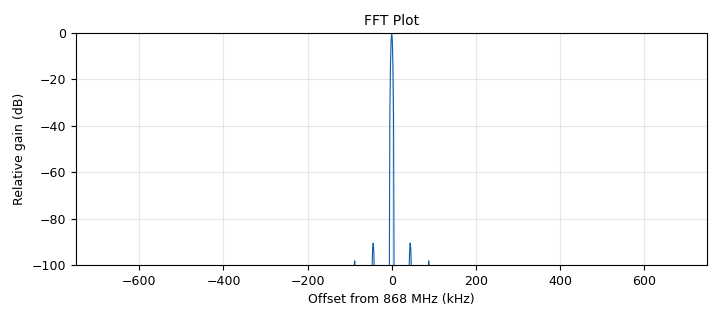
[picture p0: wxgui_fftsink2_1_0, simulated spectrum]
<?xml version='1.0' encoding='utf-8'?>
<?grc format='1' created='3.7.11'?>
<flow_graph>
<block>
<key>options</key>
<param><key>id</key><value>top_block</value></param>
<param><key>generate_options</key><value>wx_gui</value></param>
</block>
<block>
<key>variable_slider</key>
<param><key>id</key><value>gain</value></param>
<param><key>converver</key><value>float_converter</value></param>
<param><key>value</key><value>80</value></param>
<param><key>label</key><value></value></param>
<param><key>max</key><value>100</value></param>
<param><key>min</key><value>0</value></param>
<param><key>num_steps</key><value>100</value></param>
<param><key>style</key><value>wx.SL_HORIZONTAL</value></param>
</block>
<block>
<key>variable</key>
<param><key>id</key><value>porteuse</value></param>
<param><key>value</key><value>868e6</value></param>
</block>
<block>
<key>variable</key>
<param><key>id</key><value>samp_rate</value></param>
<param><key>value</key><value>44100</value></param>
</block>
<block>
<key>variable</key>
<param><key>id</key><value>signal</value></param>
<param><key>value</key><value>1000</value></param>
</block>
<block>
<key>analog_sig_source_x</key>
<param><key>id</key><value>analog_sig_source_x_0</value></param>
<param><key>amp</key><value>1</value></param>
<param><key>freq</key><value>0</value></param>
<param><key>offset</key><value>0</value></param>
<param><key>type</key><value>float</value></param>
<param><key>samp_rate</key><value>samp_rate</value></param>
<param><key>waveform</key><value>analog.GR_COS_WAVE</value></param>
</block>
<block>
<key>analog_sig_source_x</key>
<param><key>id</key><value>analog_sig_source_x_1</value></param>
<param><key>amp</key><value>1</value></param>
<param><key>freq</key><value>0</value></param>
<param><key>offset</key><value>0</value></param>
<param><key>type</key><value>float</value></param>
<param><key>samp_rate</key><value>samp_rate</value></param>
<param><key>waveform</key><value>analog.GR_CONST_WAVE</value></param>
</block>
<block>
<key>audio_sink</key>
<param><key>id</key><value>audio_sink_0</value></param>
<param><key>_enabled</key><value>0</value></param>
<param><key>samp_rate</key><value>samp_rate</value></param>
</block>
<block>
<key>blocks_add_xx</key>
<param><key>id</key><value>blocks_add_xx_0</value></param>
<param><key>_enabled</key><value>0</value></param>
<param><key>type</key><value>float</value></param>
</block>
<block>
<key>blocks_float_to_complex</key>
<param><key>id</key><value>blocks_float_to_complex_0</value></param>
</block>
<block>
<key>blocks_multiply_const_vxx</key>
<param><key>id</key><value>blocks_multiply_const_vxx_0</value></param>
<param><key>const</key><value>1</value></param>
<param><key>_enabled</key><value>2</value></param>
<param><key>type</key><value>float</value></param>
</block>
<block>
<key>blocks_wavfile_source</key>
<param><key>id</key><value>blocks_wavfile_source_0</value></param>
<param><key>_enabled</key><value>0</value></param>
<param><key>file</key><value>/home/timani/Bureau/CODE/4A/BE Transmission/Media/eden-rock-roll-official-video (online-audio-converter.com).wav</value></param>
<param><key>nchan</key><value>2</value></param>
<param><key>repeat</key><value>True</value></param>
</block>
<block>
<key>low_pass_filter</key>
<param><key>id</key><value>low_pass_filter_0</value></param>
<param><key>cutoff_freq</key><value>20000</value></param>
<param><key>decim</key><value>1</value></param>
<param><key>_enabled</key><value>0</value></param>
<param><key>type</key><value>fir_filter_fff</value></param>
<param><key>gain</key><value>1</value></param>
<param><key>samp_rate</key><value>samp_rate</value></param>
<param><key>width</key><value>2000</value></param>
<param><key>win</key><value>firdes.WIN_HAMMING</value></param>
</block>
<block>
<key>rational_resampler_xxx</key>
<param><key>id</key><value>rational_resampler_xxx_0</value></param>
<param><key>decim</key><value>44100</value></param>
<param><key>_enabled</key><value>2</value></param>
<param><key>interp</key><value>15000000</value></param>
<param><key>taps</key><value></value></param>
<param><key>type</key><value>fff</value></param>
</block>
<block>
<key>rational_resampler_xxx</key>
<param><key>id</key><value>rational_resampler_xxx_0_0</value></param>
<param><key>decim</key><value>44100</value></param>
<param><key>interp</key><value>1500000</value></param>
<param><key>taps</key><value></value></param>
<param><key>type</key><value>ccc</value></param>
</block>
<block>
<key>uhd_usrp_sink</key>
<param><key>id</key><value>uhd_usrp_sink_0</value></param>
<param><key>ant0</key><value></value></param>
<param><key>center_freq0</key><value>porteuse</value></param>
<param><key>norm_gain0</key><value>False</value></param>
<param><key>gain0</key><value>80</value></param>
<param><key>clock_rate</key><value>0.0</value></param>
<param><key>dev_args</key><value>""</value></param>
<param><key>type</key><value>fc32</value></param>
<param><key>samp_rate</key><value>1.5e6</value></param>
<param><key>hide_cmd_port</key><value>False</value></param>
<param><key>hide_lo_controls</key><value>True</value></param>
<param><key>sync</key><value></value></param>
<param><key>len_tag_name</key><value></value></param>
</block>
<block>
<key>wxgui_fftsink2</key>
<param><key>id</key><value>wxgui_fftsink2_1_0</value></param>
<param><key>avg_alpha</key><value>0</value></param>
<param><key>average</key><value>False</value></param>
<param><key>baseband_freq</key><value>porteuse</value></param>
<param><key>fft_size</key><value>1024</value></param>
<param><key>freqvar</key><value>None</value></param>
<param><key>peak_hold</key><value>False</value></param>
<param><key>ref_level</key><value>0</value></param>
<param><key>ref_scale</key><value>2.0</value></param>
<param><key>fft_rate</key><value>15</value></param>
<param><key>samp_rate</key><value>1.5e6</value></param>
<param><key>title</key><value>FFT Plot</value></param>
<param><key>type</key><value>complex</value></param>
<param><key>win</key><value>None</value></param>
<param><key>y_divs</key><value>10</value></param>
<param><key>y_per_div</key><value>10</value></param>
</block>
<connection><source_block_id>analog_sig_source_x_0</source_block_id><sink_block_id>blocks_float_to_complex_0</sink_block_id><source_key>0</source_key><sink_key>1</sink_key></connection>
<connection><source_block_id>analog_sig_source_x_1</source_block_id><sink_block_id>blocks_multiply_const_vxx_0</sink_block_id><source_key>0</source_key><sink_key>0</sink_key></connection>
<connection><source_block_id>blocks_add_xx_0</source_block_id><sink_block_id>low_pass_filter_0</sink_block_id><source_key>0</source_key><sink_key>0</sink_key></connection>
<connection><source_block_id>blocks_float_to_complex_0</source_block_id><sink_block_id>rational_resampler_xxx_0_0</sink_block_id><source_key>0</source_key><sink_key>0</sink_key></connection>
<connection><source_block_id>blocks_multiply_const_vxx_0</source_block_id><sink_block_id>rational_resampler_xxx_0</sink_block_id><source_key>0</source_key><sink_key>0</sink_key></connection>
<connection><source_block_id>blocks_wavfile_source_0</source_block_id><sink_block_id>blocks_add_xx_0</sink_block_id><source_key>0</source_key><sink_key>0</sink_key></connection>
<connection><source_block_id>blocks_wavfile_source_0</source_block_id><sink_block_id>blocks_add_xx_0</sink_block_id><source_key>1</source_key><sink_key>1</sink_key></connection>
<connection><source_block_id>low_pass_filter_0</source_block_id><sink_block_id>blocks_multiply_const_vxx_0</sink_block_id><source_key>0</source_key><sink_key>0</sink_key></connection>
<connection><source_block_id>rational_resampler_xxx_0</source_block_id><sink_block_id>audio_sink_0</sink_block_id><source_key>0</source_key><sink_key>0</sink_key></connection>
<connection><source_block_id>rational_resampler_xxx_0</source_block_id><sink_block_id>blocks_float_to_complex_0</sink_block_id><source_key>0</source_key><sink_key>0</sink_key></connection>
<connection><source_block_id>rational_resampler_xxx_0_0</source_block_id><sink_block_id>uhd_usrp_sink_0</sink_block_id><source_key>0</source_key><sink_key>0</sink_key></connection>
<connection><source_block_id>rational_resampler_xxx_0_0</source_block_id><sink_block_id>wxgui_fftsink2_1_0</sink_block_id><source_key>0</source_key><sink_key>0</sink_key></connection>
</flow_graph>
